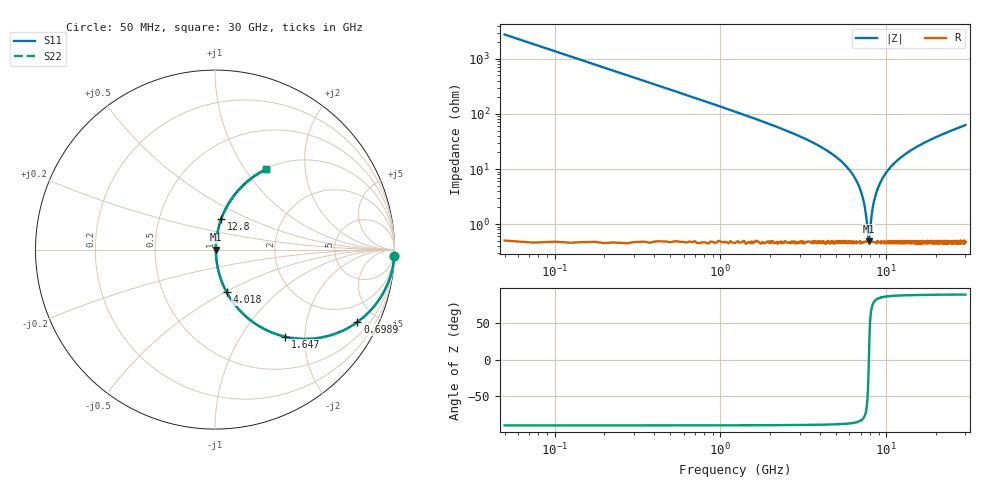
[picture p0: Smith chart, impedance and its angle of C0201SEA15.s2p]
!	AVX Thin Film Operation 	Date: April 2014
!	Description: Accu-P® Series, Thin Film  SMD RF Capacitor
!	Part Number: 02015JA15PBSTR
# MHZ S MA R 50
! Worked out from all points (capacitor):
!   1201 points, 50 MHz to 30 GHz, reference 50 ohm
!   read as one part in series: C = 1.15 pF near 199.8 MHz
!   lowest |Z| = 489 mohm at 7.837 GHz (marker M1)
!   series resonance near 7.849 GHz, so ESL is about 360 pH
!   S11 on the Smith chart (normalised r, x): 50 MHz: 2, -55; 698.9 MHz: 1.01, -3.93; 1.647 GHz: 1.01, -1.61; 4.018 GHz: 1.01, -0.51; 12.8 GHz: 1.01, +0.36; 30 GHz: 1.01, +1.26
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50  0.999 -2.1  0.036 87.9  0.036 87.9  0.999 -2.1
324.542  0.973 -13.2  0.229 76.7  0.229 76.7  0.973 -13.2
698.917  0.89 -26.9  0.453 62.9  0.453 62.9  0.89 -26.9
1123.208  0.769 -39.6  0.637 50.2  0.637 50.2  0.769 -39.6
1647.333  0.624 -51.0  0.777 38.6  0.777 38.6  0.624 -51.0
2645.667  0.419 -64.6  0.904 24.8  0.904 24.8  0.419 -64.6
4018.375  0.245 -74.7  0.965 14.2  0.965 14.2  0.245 -74.7
5041.667  0.159 -79.2  0.983 9.1  0.983 9.1  0.159 -79.2
6139.833  0.087 -82.0  0.992 5.0  0.992 5.0  0.087 -82.0
6913.542  0.045 -81.5  0.994 2.6  0.994 2.6  0.045 -81.5
7387.75  0.022 -76.4  0.995 1.2  0.995 1.2  0.022 -76.4
7837  0.0047 -6.7  0.995 0.0  0.995 0.0  0.0047 -6.7
7961.792  0.006839 46.7  0.995 -0.3  0.995 -0.3  0.006839 46.7
8311.208  0.021 75.8  0.995 -1.2  0.995 -1.2  0.021 75.8
8635.667  0.034 80.2  0.995 -1.9  0.995 -1.9  0.034 80.2
9184.75  0.055 82.0  0.994 -3.2  0.994 -3.2  0.055 82.0
10058.29  0.088 81.9  0.992 -5.0  0.992 -5.0  0.088 81.9
12803.71  0.176 78.4  0.98 -10.1  0.98 -10.1  0.176 78.4
15025  0.237 75.2  0.967 -13.7  0.967 -13.7  0.237 75.2
20016.67  0.354 68.6  0.931 -20.7  0.931 -20.7  0.354 68.6
25033.29  0.451 62.7  0.889 -26.8  0.889 -26.8  0.451 62.7
30000  0.53 57.6  0.844 -32.0  0.844 -32.0  0.53 57.6
